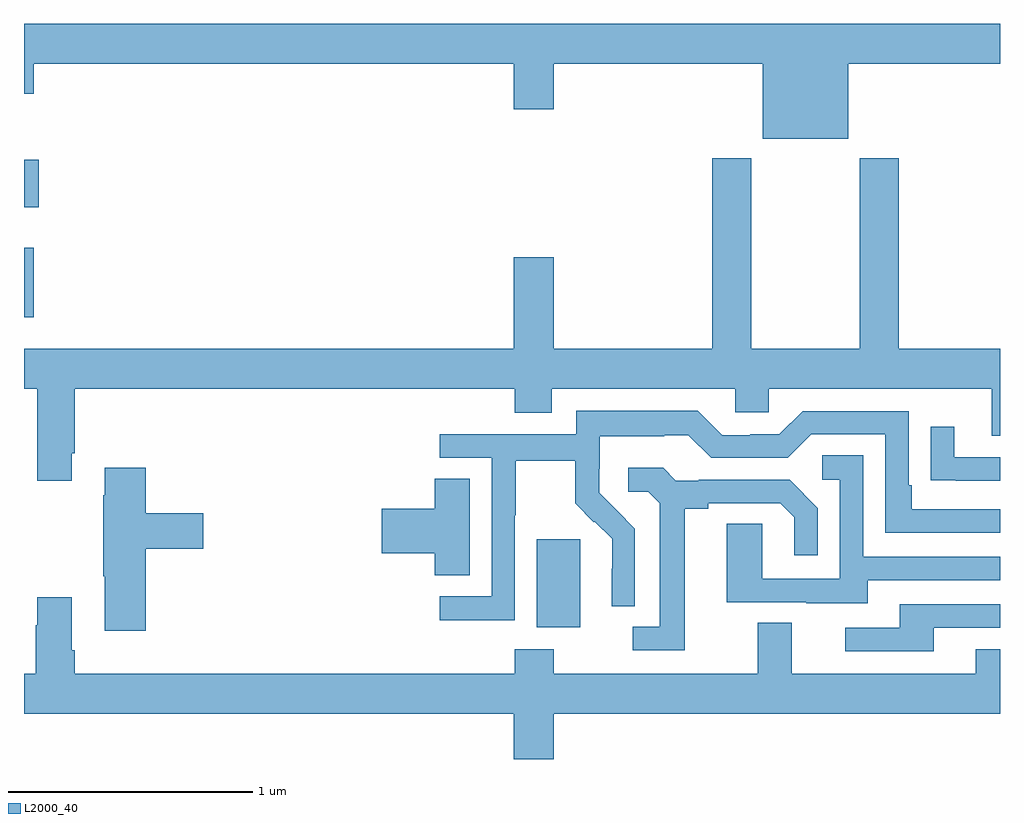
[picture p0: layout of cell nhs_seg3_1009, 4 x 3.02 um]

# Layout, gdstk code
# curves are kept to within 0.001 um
import gdstk
lib = gdstk.Library(unit=1e-6, precision=1e-09)
def R(c, l, rs):  # rectangles x0, y0, x1, y1
    for r in rs: c.add(gdstk.rectangle(r[:2], r[2:], *l))
def P(c, l, *ps):  # polygons
    for p in ps: c.add(gdstk.Polygon(p, *l))
L2000_40 = (2000, 40)

nhs_seg3_1009 = lib.new_cell('nhs_seg3_1009')
R(nhs_seg3_1009, L2000_40, [(165.101,705.266,165.28,705.627), (163,706.536,163.04,706.822), (163,706.988,163.06,707.182)])
P(nhs_seg3_1009, L2000_40, [(166.378,707.576),(167,707.576),(167,707.74),(163,707.74),(163,707.452),(163.04,707.452),(163.04,707.576),(165.008,707.576),(165.008,707.388),(165.172,707.388),(165.172,707.576),(166.028,707.576),(166.028,707.267),(166.378,707.267)],
  [(163.195,705.979),(163.208,705.979),(163.208,706.244),(165.011,706.244),(165.011,706.145),(165.163,706.145),(165.163,706.244),(165.915,706.244),(165.915,706.146),(166.053,706.146),(166.053,706.244),(166.967,706.244),(166.967,706.05),(167,706.05),(167,706.408),(166.586,706.408),(166.586,707.188),(166.426,707.188),(166.426,706.408),(165.981,706.408),(165.981,707.188),(165.821,707.188),(165.821,706.408),(165.172,706.408),(165.172,706.783),(165.008,706.783),(165.008,706.408),(163,706.408),(163,706.244),(163.055,706.244),(163.055,705.867),(163.195,705.867)],
  [(165.012,705.724),(165.015,705.724),(165.015,705.948),(165.259,705.948),(165.259,705.773),(165.336,705.696),(165.339,705.699),(165.41,705.629),(165.41,705.506),(165.408,705.506),(165.408,705.352),(165.504,705.352),(165.504,705.67),(165.358,705.818),(165.358,705.915),(165.36,705.915),(165.36,706.049),(165.623,706.049),(165.623,706.053),(165.723,706.053),(165.816,705.96),(166.131,705.96),(166.227,706.056),(166.53,706.056),(166.53,705.654),(167,705.654),(167,705.75),(166.639,705.75),(166.639,705.847),(166.626,705.847),(166.626,706.152),(166.191,706.152),(166.095,706.056),(165.977,706.056),(165.977,706.053),(165.861,706.053),(165.761,706.153),(165.264,706.153),(165.264,706.056),(164.703,706.056),(164.703,705.96),(164.916,705.96),(164.916,705.393),(164.703,705.393),(164.703,705.295),(165.012,705.295)],
  [(167,705.963),(166.813,705.963),(166.813,706.087),(166.717,706.087),(166.717,705.868),(166.819,705.868),(166.819,705.867),(167,705.867)],
  [(166.459,705.459),(167,705.459),(167,705.555),(166.44,705.555),(166.44,705.971),(166.272,705.971),(166.272,705.87),(166.344,705.87),(166.344,705.465),(166.026,705.465),(166.026,705.689),(165.881,705.689),(165.881,705.369),(166.205,705.369),(166.205,705.365),(166.459,705.365)],
  [(163.499,705.587),(163.735,705.587),(163.735,705.734),(163.499,705.734),(163.499,705.919),(163.331,705.919),(163.331,705.806),(163.324,705.806),(163.324,705.475),(163.331,705.475),(163.331,705.252),(163.499,705.252)],
  [(165.709,705.752),(165.805,705.752),(165.805,705.774),(166.1,705.774),(166.157,705.717),(166.157,705.561),(166.254,705.561),(166.254,705.754),(166.138,705.87),(165.766,705.87),(165.766,705.867),(165.672,705.867),(165.62,705.919),(165.477,705.919),(165.477,705.822),(165.558,705.822),(165.605,705.775),(165.605,705.267),(165.495,705.267),(165.495,705.171),(165.709,705.171)],
  [(164.827,705.875),(164.684,705.875),(164.684,705.752),(164.466,705.752),(164.466,705.569),(164.684,705.569),(164.684,705.478),(164.827,705.478)],
  [(165.172,704.912),(167,704.912),(167,705.175),(166.901,705.175),(166.901,705.076),(166.147,705.076),(166.147,705.284),(166.007,705.284),(166.007,705.076),(165.171,705.076),(165.171,705.175),(165.011,705.175),(165.011,705.076),(163.208,705.076),(163.208,705.172),(163.195,705.172),(163.195,705.388),(163.055,705.388),(163.055,705.275),(163.048,705.275),(163.048,705.076),(163,705.076),(163,704.912),(165.008,704.912),(165.008,704.724),(165.172,704.724)],
  [(166.729,705.264),(167,705.264),(167,705.36),(166.589,705.36),(166.589,705.264),(166.365,705.264),(166.365,705.168),(166.729,705.168)])

lib.write_gds('nhs_seg3_1009.gds')
